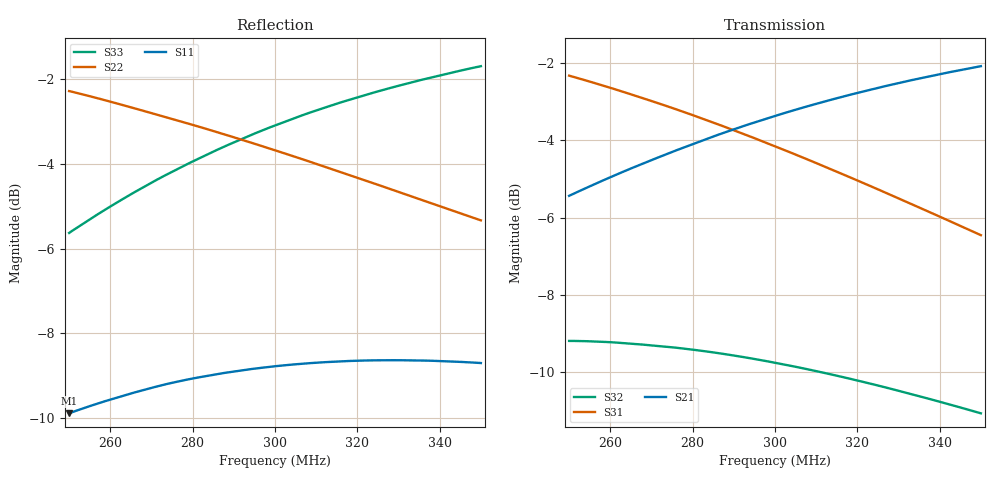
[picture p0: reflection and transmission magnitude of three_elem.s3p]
!Created with skrf (http://scikit-rf.org).
# Hz S RI R 50.0
!freq ReS11 ImS11 ReS12 ImS12 ReS13 ImS13
! ReS21 ImS21 ReS22 ImS22 ReS23 ImS23
! ReS31 ImS31 ReS32 ImS32 ReS33 ImS33
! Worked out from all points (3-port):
!   801 points, 250 MHz to 350 MHz, reference 50 ohm
!   strongest paths, dB at 250 MHz, 275 MHz, 300 MHz, 325 MHz, 350 MHz:
!     S21: -5.4, -4.3, -3.4, -2.6, -2.1
!     S31: -2.3, -3.2, -4.2, -5.3, -6.5
!     S32: -9.2, -9.4, -9.8, -10.3, -11.1
!   lowest |S11| = -9.9 dB at 250 MHz (marker M1), VSWR 1.94, Z = 70.4 + j34.5 ohm
!   |S11| at or under -10 dB: nowhere
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2.5e8  0.2322 0.2201  0.2565 0.4692  -0.2487 -0.7236
       0.2524 0.4714  0.2504 -0.7277  0.2466 -0.2433
       -0.2446 -0.7249  0.25 -0.2406  0.2301 -0.4696
2.56375e8  0.2514 0.2106  0.2768 0.4801  -0.2799 -0.6938
           0.2727 0.4824  0.224 -0.7219  0.2305 -0.2579
           -0.2757 -0.6952  0.2342 -0.2553  0.2137 -0.5046
2.63125e8  0.2706 0.1987  0.2993 0.4905  -0.3093 -0.6604
           0.2953 0.4928  0.1969 -0.714  0.2123 -0.2712
           -0.3052 -0.662  0.216 -0.2687  0.193 -0.5404
2.76e8  0.3037 0.171  0.3447 0.5062  -0.3562 -0.5936
        0.3408 0.5086  0.1488 -0.6952  0.1755 -0.2904
        -0.3521 -0.5956  0.1796 -0.2887  0.1431 -0.6046
2.88e8  0.3286 0.1404  0.3899 0.516  -0.3887 -0.5291
        0.3863 0.5183  0.1076 -0.6748  0.1399 -0.3021
        -0.3848 -0.5315  0.1439 -0.3008  0.087 -0.6569
3e8  0.3477 0.1068  0.4365 0.5201  -0.4107 -0.4649
     0.433 0.5223  0.0711 -0.6511  0.1043 -0.3074
     -0.407 -0.4675  0.1083 -0.3065  0.0239 -0.7005
3.12e8  0.3607 0.0716  0.4833 0.5186  -0.4232 -0.4027
        0.4799 0.5207  0.039 -0.6254  0.07 -0.3071
        -0.4196 -0.4055  0.0741 -0.3066  -0.0446 -0.7341
3.2425e8  0.3679 0.0353  0.5304 0.5118  -0.4276 -0.3428
          0.5269 0.514  0.0105 -0.5979  0.0373 -0.3018
          -0.424 -0.3461  0.0416 -0.3016  -0.1181 -0.758
3.36625e8  0.3693 -0.000238  0.5764 0.4998  -0.4249 -0.287
           0.5726 0.5023  -0.0144 -0.5697  0.00744 -0.2923
           -0.4212 -0.2909  0.0119 -0.2925  -0.1941 -0.7717
3.5e8  0.3651 -0.0364  0.6234 0.4821  -0.4155 -0.2327
       0.6196 0.4851  -0.0368 -0.5399  -0.0208 -0.2786
       -0.4121 -0.2373  -0.0163 -0.2792  -0.2754 -0.7762
